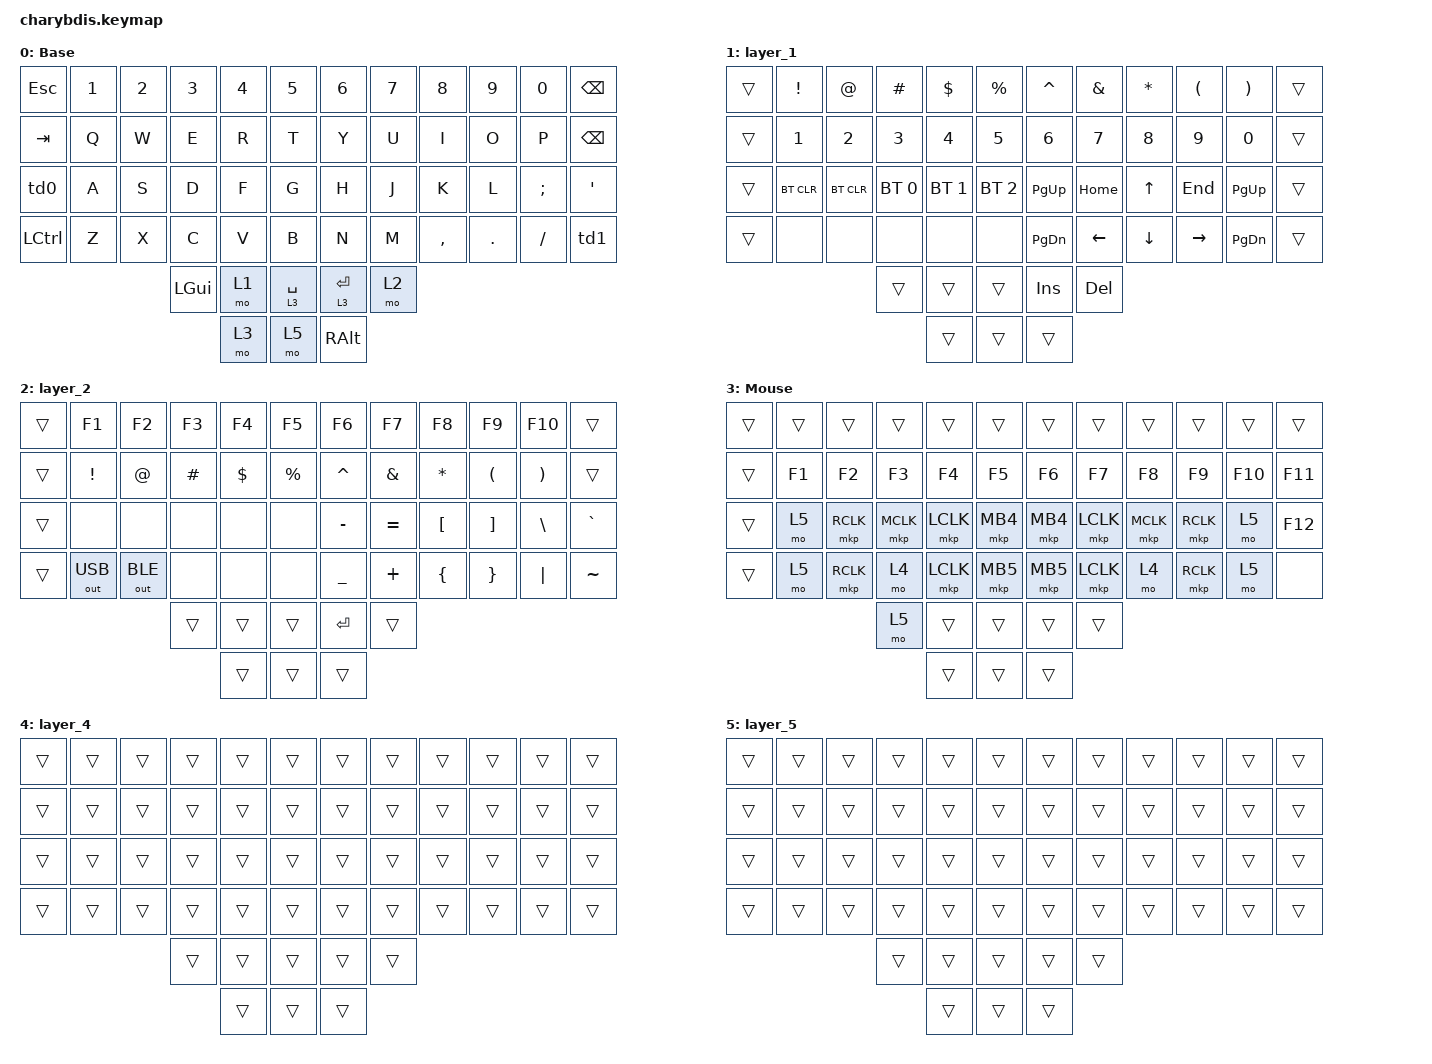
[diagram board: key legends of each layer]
#include <behaviors.dtsi>
#include <dt-bindings/zmk/bt.h>
#include <dt-bindings/zmk/keys.h>
#include <dt-bindings/zmk/mouse.h>
#include <dt-bindings/zmk/outputs.h>

#undef ZMK_POINTING_DEFAULT_SCRL_VAL
#define ZMK_POINTING_DEFAULT_SCRL_VAL 20

#undef ZMK_POINTING_DEFAULT_SCRL_VAL
#define ZMK_POINTING_DEFAULT_SCRL_VAL 20

&lt {
    tapping-term-ms = <150>;
    flavor = "tap-preferred";
    quick-tap-ms = <100>;
};

/ {
    behaviors {
        td0: td0 {
            compatible = "zmk,behavior-tap-dance";
            label = "TD0";
            #binding-cells = <0>;
            bindings = <&kp LSHIFT>, <&kp CAPS>;
        };

        td1: td1 {
            compatible = "zmk,behavior-tap-dance";
            label = "TD1";
            #binding-cells = <0>;
            bindings = <&kp RSHIFT>, <&kp CAPS>;
        };
    };

    keymap {
        compatible = "zmk,keymap";

        Base {

            // --------------------------------------------------------------------------------
            // |  ESC |  1  |  2  |  3  |  4  |  5  |   |  6  |  7   |  8  |  9  |  0  | BKSP |
            // |  TAB |  Q  |  W  |  E  |  R  |  T  |   |  Y  |  U   |  I  |  O  |  P  | BKSP |
            // | SHFT |  A  |  S  |  D  |  F  |  G  |   |  H  |  J   |  K  |  L  |  ;  |  '   | 
            // | CTRL |  Z  |  X  |  C  |  V  |  B  |   |  N  |  M   |  ,  |  .  |  /  | SHFT |
            //                    | GUI | 1st | SPC |   | ENT | 2nd  |
            //                          | 4th | 5th |   | ALT |

            bindings = <
&kp ESC         &kp N1   &kp N2  &kp N3          &kp N4        &kp N5            &kp N6          &kp N7           &kp N8     &kp N9   &kp N0       &kp BSPC
&kp TAB         &kp Q    &kp W   &kp E           &kp R         &kp T             &kp Y           &kp U            &kp I      &kp O    &kp P        &kp BSPC
&td0            &kp A    &kp S   &kp D           &kp F         &kp G             &kp H           &kp J            &kp K      &kp L    &kp SEMI     &kp SQT
&kp LCTRL       &kp Z    &kp X   &kp C           &kp V         &kp B             &kp N           &kp M            &kp COMMA  &kp DOT  &kp FSLH     &td1
                                 &kp LGUI        &mo 1         &lt 3 SPACE       &lt 3 ENTER     &mo 2
                                                 &mo 3         &mo 5             &kp RALT
            >;

            trackball-bindings = <&tmv_coarse>;
        };

        layer_1 {

            // --------------------------------------------------------------------------------
            // |  ESC |  !  |  @  |  #  |  $  |  %  |   |  ^  |  &  |  *  |  (  |  )   | BKSP |
            // |  TAB |  1  |  2  |  3  |  4  |  5  |   |  6  |  7  |  8  |  9  |  0   | BKSP |
            // | SHFT |BTCLR| BT1 | BT2 | BT3 | BT4 |   |PGUP | HOME| UP  | END | PGUP | '    |
            // | CTRL |RGBOF|RGBON|EPOFF| EPON|     |   |PGDN | LFT | DWN | RGT | PGDN | SHFT |
            //                    | GUI | 1st | SPC |   | INS | DEL |
            //                          | 4th | 5th |   | ALT |
            
            bindings = <
&trans  &kp EXCL       &kp AT        &kp HASH      &kp DLLR      &kp PRCNT    &kp CARET      &kp AMPS  &kp ASTRK  &kp LPAR  &kp RPAR       &trans
&trans  &kp N1         &kp N2        &kp N3        &kp N4        &kp N5       &kp N6         &kp N7    &kp N8     &kp N9    &kp N0         &trans
&trans  &bt BT_CLR     &bt BT_CLR    &bt BT_SEL 0  &bt BT_SEL 1  &bt BT_SEL 2 &kp PAGE_UP    &kp HOME  &kp UP     &kp END   &kp PAGE_UP    &trans
&trans  &none          &none         &none         &none         &none        &kp PAGE_DOWN  &kp LEFT  &kp DOWN   &kp RIGHT &kp PAGE_DOWN  &trans
                                                   &trans        &trans       &trans         &kp INS   &kp DEL
                                                                 &trans       &trans         &trans
            >;

            trackball-bindings = <&tmv_coarse>;
        };

        layer_2 {
            bindings = <
&trans  &kp F1        &kp F2        &kp F3    &kp F4    &kp F5       &kp F6     &kp F7     &kp F8     &kp F9    &kp F10   &trans
&trans  &kp EXCL      &kp AT        &kp HASH  &kp DLLR  &kp PRCNT    &kp CARET  &kp AMPS   &kp ASTRK  &kp LPAR  &kp RPAR  &trans
&trans  &none         &none         &none     &none     &none        &kp MINUS  &kp EQUAL  &kp LBKT   &kp RBKT  &kp BSLH  &kp GRAVE
&trans  &out OUT_USB  &out OUT_BLE  &none     &none     &none        &kp UNDER  &kp PLUS   &kp LBRC   &kp RBRC  &kp PIPE  &kp TILDE
                                              &trans    &trans       &trans     &kp RET    &trans
                                                        &trans       &trans     &trans
            >;

            trackball-bindings = <&tmv_coarse>;
        };

        Mouse {
            bindings = <
&trans  &trans    &trans        &trans        &trans     &trans        &trans      &trans     &trans        &trans        &trans        &trans
&trans  &kp F1    &kp F2        &kp F3        &kp F4     &kp F5        &kp F6      &kp F7     &kp F8        &kp F9        &kp F10       &kp F11 
&trans  &mo 5     &mkp RCLK     &mkp MCLK     &mkp LCLK  &mkp MB4      &mkp MB4    &mkp LCLK  &mkp MCLK     &mkp RCLK     &mo 5         &kp F12 
&trans  &mo 5     &mkp RCLK     &mo 4         &mkp LCLK  &mkp MB5      &mkp MB5    &mkp LCLK  &mo 4         &mkp RCLK     &mo 5         &none 
                                              &mo 5      &trans        &trans      &trans     &trans
                                                         &trans        &trans      &trans
            >;
        };

        layer_4 {
            bindings = <
&trans  &trans  &trans     &trans     &trans     &trans       &trans     &trans     &trans     &trans     &trans  &trans
&trans  &trans  &trans     &trans     &trans     &trans       &trans     &trans     &trans     &trans     &trans  &trans
&trans  &trans  &trans     &trans     &trans     &trans       &trans     &trans     &trans     &trans     &trans  &trans
&trans  &trans  &trans     &trans     &trans     &trans       &trans     &trans     &trans     &trans     &trans  &trans
                           &trans     &trans     &trans       &trans     &trans
                                      &trans     &trans       &trans
            >;

            trackball-bindings = <&tsl>;//滚轮层
        };

        layer_5 {
            bindings = <
&trans  &trans  &trans     &trans     &trans     &trans       &trans     &trans     &trans     &trans     &trans  &trans
&trans  &trans  &trans     &trans     &trans     &trans       &trans     &trans     &trans     &trans     &trans  &trans
&trans  &trans  &trans     &trans     &trans     &trans       &trans     &trans     &trans     &trans     &trans  &trans
&trans  &trans  &trans     &trans     &trans     &trans       &trans     &trans     &trans     &trans     &trans  &trans
                           &trans     &trans     &trans       &trans     &trans
                                      &trans     &trans       &trans
            >;

            trackball-bindings = <&tmv_fine>;//精准指针层
        };
    };
};
